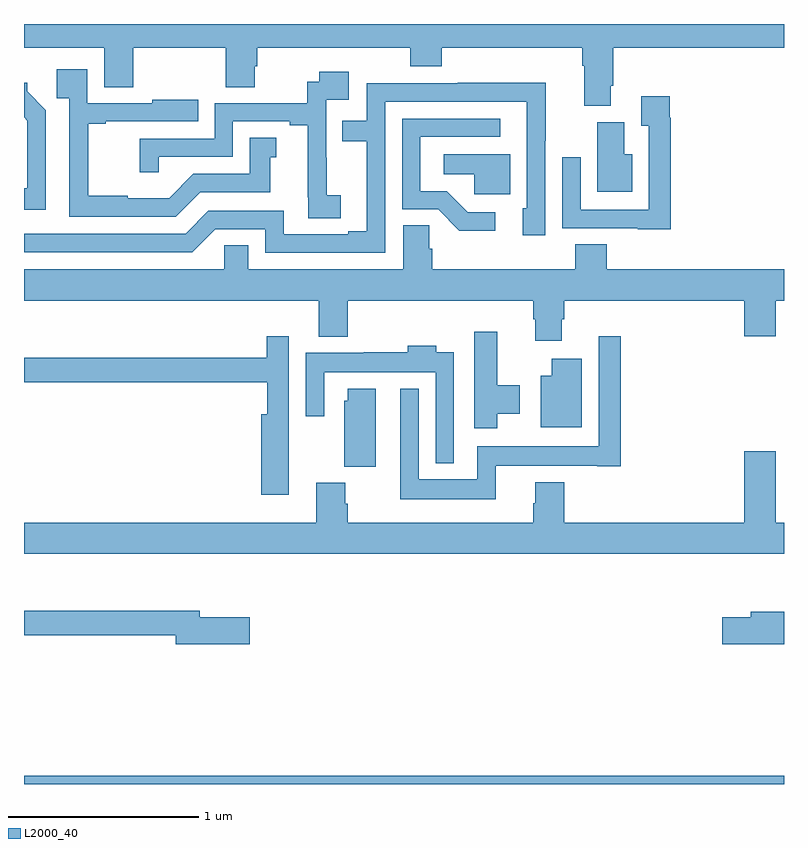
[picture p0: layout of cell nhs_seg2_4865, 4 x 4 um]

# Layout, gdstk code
import gdstk
lib = gdstk.Library(unit=1e-6, precision=1e-09)
def R(c, l, rs):  # rectangles x0, y0, x1, y1
    for r in rs: c.add(gdstk.rectangle(r[:2], r[2:], *l))
def P(c, l, *ps):  # polygons
    for p in ps: c.add(gdstk.Polygon(p, *l))
L2000_40 = (2000, 40)

nhs_seg2_4865 = lib.new_cell('nhs_seg2_4865')
R(nhs_seg2_4865, L2000_40, [(377,603.8,381,603.844)])
P(nhs_seg2_4865, L2000_40, [(380.089,607.474),(380.102,607.474),(380.102,607.676),(381,607.676),(381,607.8),(377,607.8),(377,607.676),(377.423,607.676),(377.423,607.468),(377.576,607.468),(377.576,607.676),(378.062,607.676),(378.062,607.468),(378.214,607.468),(378.214,607.578),(378.227,607.578),(378.227,607.676),(379.034,607.676),(379.034,607.577),(379.199,607.577),(379.199,607.676),(379.937,607.676),(379.937,607.58),(379.949,607.58),(379.949,607.369),(380.089,607.369)],
  [(377.928,606.915),(378.295,606.915),(378.295,607.099),(378.328,607.099),(378.328,607.202),(378.188,607.202),(378.188,607.011),(377.892,607.011),(377.764,606.883),(377.546,606.883),(377.546,606.895),(377.339,606.895),(377.339,607.275),(377.431,607.275),(377.431,607.287),(377.918,607.287),(377.918,607.402),(377.675,607.402),(377.675,607.383),(377.334,607.383),(377.334,607.561),(377.173,607.561),(377.173,607.409),(377.238,607.409),(377.238,606.786),(377.799,606.786)],
  [(378.667,606.9),(378.593,606.9),(378.593,607.097),(378.591,607.097),(378.591,607.401),(378.709,607.401),(378.709,607.549),(378.553,607.549),(378.553,607.497),(378.49,607.497),(378.49,607.383),(378.003,607.383),(378.003,607.197),(377.608,607.197),(377.608,607.02),(377.709,607.02),(377.709,607.101),(378.099,607.101),(378.099,607.287),(378.398,607.287),(378.398,607.267),(378.494,607.267),(378.494,606.889),(378.496,606.889),(378.496,606.778),(378.667,606.778)],
  [(378.9,607.392),(379.647,607.392),(379.647,606.831),(379.625,606.831),(379.625,606.687),(379.743,606.687),(379.743,607.186),(379.745,607.186),(379.745,607.49),(379.282,607.49),(379.282,607.488),(378.804,607.488),(378.804,607.29),(378.676,607.29),(378.676,607.182),(378.803,607.182),(378.803,606.708),(378.707,606.708),(378.707,606.693),(378.366,606.693),(378.366,606.816),(377.97,606.816),(377.85,606.696),(377,606.696),(377,606.6),(377.886,606.6),(378.006,606.72),(378.27,606.72),(378.27,606.597),(378.9,606.597)],
  [(377.115,607.346),(377.016,607.445),(377.016,607.49),(377,607.49),(377,607.309),(377.018,607.291),(377.018,606.935),(377,606.935),(377,606.822),(377.115,606.822)],
  [(380.405,607.307),(380.398,607.307),(380.398,607.42),(380.249,607.42),(380.249,607.264),(380.289,607.264),(380.289,606.822),(379.929,606.822),(379.929,607.099),(379.833,607.099),(379.833,606.726),(380.229,606.726),(380.229,606.719),(380.405,606.719)],
  [(379.48,606.81),(379.335,606.81),(379.224,606.921),(379.086,606.921),(379.086,607.206),(379.507,607.206),(379.507,607.302),(378.99,607.302),(378.99,606.825),(379.179,606.825),(379.292,606.713),(379.48,606.713)],
  [(380.2,607.114),(380.158,607.114),(380.158,607.284),(380.018,607.284),(380.018,606.917),(380.2,606.917)],
  [(379.558,607.114),(379.209,607.114),(379.209,607.01),(379.371,607.01),(379.371,606.903),(379.558,606.903)],
  [(379.831,606.246),(379.844,606.246),(379.844,606.344),(380.792,606.344),(380.792,606.156),(380.956,606.156),(380.956,606.344),(381,606.344),(381,606.508),(380.066,606.508),(380.066,606.641),(379.901,606.641),(379.901,606.508),(379.148,606.508),(379.148,606.617),(379.134,606.617),(379.134,606.74),(378.995,606.74),(378.995,606.508),(378.181,606.508),(378.181,606.635),(378.054,606.635),(378.054,606.508),(377,606.508),(377,606.344),(378.551,606.344),(378.551,606.155),(378.704,606.155),(378.704,606.344),(379.679,606.344),(379.679,606.246),(379.691,606.246),(379.691,606.132),(379.831,606.132)],
  [(379.492,605.75),(379.609,605.75),(379.609,605.898),(379.492,605.898),(379.492,606.181),(379.37,606.181),(379.37,605.673),(379.492,605.673)],
  [(379.484,605.474),(380.018,605.474),(380.018,605.472),(380.141,605.472),(380.141,606.157),(380.025,606.157),(380.025,605.578),(379.386,605.578),(379.386,605.404),(379.077,605.404),(379.077,605.881),(378.98,605.881),(378.98,605.3),(379.484,605.3)],
  [(378.394,605.642),(378.393,605.642),(378.393,606.157),(378.277,606.157),(378.277,606.043),(377,606.043),(377,605.914),(378.281,605.914),(378.281,605.746),(378.248,605.746),(378.248,605.322),(378.394,605.322)],
  [(379.263,606.073),(379.171,606.073),(379.171,606.106),(379.019,606.106),(379.019,606.073),(378.787,606.073),(378.787,606.07),(378.483,606.07),(378.483,605.736),(378.579,605.736),(378.579,605.966),(379.167,605.966),(379.167,605.489),(379.263,605.489)],
  [(379.936,606.037),(379.778,606.037),(379.778,605.95),(379.721,605.95),(379.721,605.678),(379.936,605.678)],
  [(378.85,605.881),(378.704,605.881),(378.704,605.817),(378.686,605.817),(378.686,605.47),(378.85,605.47)],
  [(381,605.176),(380.956,605.176),(380.956,605.551),(380.792,605.551),(380.792,605.176),(379.844,605.176),(379.844,605.389),(379.691,605.389),(379.691,605.277),(379.679,605.277),(379.679,605.176),(378.704,605.176),(378.704,605.276),(378.691,605.276),(378.691,605.385),(378.539,605.385),(378.539,605.176),(377,605.176),(377,605.012),(381,605.012)],
  [(378.187,604.677),(377.926,604.677),(377.926,604.711),(377,604.711),(377,604.582),(377.798,604.582),(377.798,604.535),(378.187,604.535)],
  [(381,604.707),(380.825,604.707),(380.825,604.677),(380.676,604.677),(380.676,604.535),(381,604.535)])

lib.write_gds('nhs_seg2_4865.gds')
